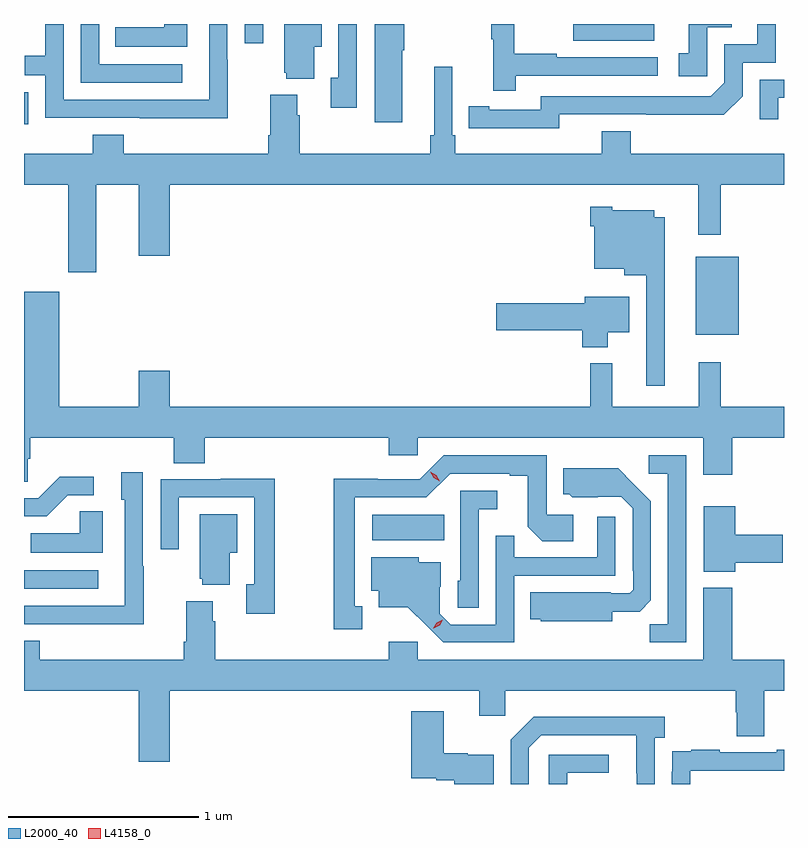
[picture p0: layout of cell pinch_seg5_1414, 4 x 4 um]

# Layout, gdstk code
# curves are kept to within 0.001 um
import gdstk
lib = gdstk.Library(unit=1e-6, precision=1e-09)
def R(c, l, rs):  # rectangles x0, y0, x1, y1
    for r in rs: c.add(gdstk.rectangle(r[:2], r[2:], *l))
def P(c, l, *ps):  # polygons
    for p in ps: c.add(gdstk.Polygon(p, *l))
L2000_40 = (2000, 40)
L4158_0 = (4158, 0)

pinch_seg5_1414 = lib.new_cell('pinch_seg5_1414')
R(pinch_seg5_1414, L2000_40, [(152.416,879.942,152.806,880.038), (154.248,880.196,154.628,880.33), (155.951,881.279,156.178,881.689), (152.416,882.387,152.439,882.555), (153.579,882.813,153.675,882.914), (155.307,882.827,155.734,882.914)])
P(pinch_seg5_1414, L2000_40, [(154.167,882.914),(154.071,882.914),(154.071,882.63),(154.031,882.63),(154.031,882.474),(154.167,882.474)],
  [(153.943,882.794),(153.982,882.794),(153.982,882.914),(153.785,882.914),(153.785,882.657),(153.797,882.657),(153.797,882.626),(153.943,882.626)],
  [(153.274,882.914),(153.153,882.914),(153.153,882.898),(152.896,882.898),(152.896,882.794),(153.274,882.794)],
  [(154.408,882.775),(154.416,882.775),(154.416,882.914),(154.262,882.914),(154.262,882.396),(154.408,882.396)],
  [(153.25,882.702),(152.811,882.702),(152.811,882.914),(152.715,882.914),(152.715,882.606),(153.25,882.606)],
  [(156.012,882.897),(156.141,882.897),(156.141,882.914),(155.915,882.914),(155.915,882.759),(155.862,882.759),(155.862,882.639),(156.012,882.639)],
  [(155.232,882.438),(156.1,882.437),(156.198,882.534),(156.198,882.711),(156.372,882.711),(156.372,882.914),(156.275,882.914),(156.275,882.807),(156.102,882.807),(156.102,882.606),(156.03,882.534),(155.136,882.534),(155.136,882.462),(154.864,882.462),(154.864,882.482),(154.756,882.482),(154.756,882.366),(155.232,882.365)],
  [(153.489,882.725),(153.486,882.725),(153.486,882.914),(153.39,882.914),(153.39,882.516),(152.625,882.516),(152.625,882.914),(152.529,882.914),(152.529,882.746),(152.419,882.746),(152.419,882.645),(152.529,882.645),(152.529,882.42),(153.025,882.42),(153.025,882.419),(153.489,882.419)],
  [(155.003,882.642),(155.752,882.642),(155.752,882.738),(155.219,882.738),(155.219,882.758),(154.996,882.758),(154.996,882.914),(154.875,882.914),(154.875,882.835),(154.886,882.835),(154.886,882.564),(155.003,882.564)],
  [(152.797,882.068),(153.02,882.068),(153.02,881.694),(153.184,881.694),(153.184,882.068),(155.965,882.068),(155.965,881.805),(156.083,881.805),(156.083,882.068),(156.416,882.068),(156.416,882.232),(155.609,882.232),(155.609,882.349),(155.456,882.349),(155.456,882.232),(154.685,882.232),(154.685,882.328),(154.671,882.328),(154.671,882.688),(154.574,882.688),(154.574,882.328),(154.555,882.328),(154.555,882.232),(153.866,882.232),(153.866,882.434),(153.853,882.434),(153.853,882.541),(153.713,882.541),(153.713,882.328),(153.701,882.328),(153.701,882.232),(152.942,882.232),(152.942,882.331),(152.777,882.331),(152.777,882.232),(152.416,882.232),(152.416,882.068),(152.65,882.068),(152.65,881.607),(152.797,881.607)],
  [(156.385,882.525),(156.416,882.525),(156.416,882.621),(156.288,882.621),(156.288,882.414),(156.385,882.414)],
  [(155.788,881.896),(155.734,881.896),(155.734,881.935),(155.511,881.935),(155.511,881.953),(155.396,881.953),(155.396,881.849),(155.417,881.849),(155.417,881.627),(155.576,881.627),(155.576,881.591),(155.691,881.591),(155.691,881.01),(155.788,881.01)],
  [(152.436,880.627),(152.45,880.627),(152.45,880.736),(153.203,880.736),(153.203,880.603),(153.368,880.603),(153.368,880.736),(154.337,880.736),(154.337,880.643),(154.488,880.643),(154.488,880.736),(155.99,880.736),(155.99,880.542),(156.143,880.542),(156.143,880.736),(156.416,880.736),(156.416,880.9),(156.083,880.9),(156.083,881.134),(155.966,881.134),(155.966,880.9),(155.513,880.9),(155.513,881.128),(155.395,881.128),(155.395,880.9),(153.184,880.9),(153.184,881.089),(153.02,881.089),(153.02,880.9),(152.602,880.9),(152.602,881.506),(152.416,881.506),(152.416,880.504),(152.436,880.504)],
  [(155.488,881.291),(155.602,881.291),(155.602,881.479),(155.366,881.479),(155.366,881.444),(154.902,881.444),(154.902,881.302),(155.354,881.302),(155.354,881.213),(155.488,881.213)],
  [(155.901,880.644),(155.703,880.644),(155.703,880.548),(155.805,880.548),(155.805,879.755),(155.71,879.755),(155.71,879.66),(155.901,879.66)],
  [(154.195,879.849),(154.156,879.849),(154.156,880.422),(154.533,880.422),(154.659,880.548),(154.973,880.548),(154.973,880.536),(155.067,880.536),(155.067,880.268),(155.143,880.192),(155.308,880.192),(155.308,880.332),(155.166,880.332),(155.166,880.644),(154.626,880.644),(154.5,880.518),(154.278,880.518),(154.278,880.52),(154.045,880.52),(154.045,879.729),(154.195,879.729)],
  [(155.512,879.821),(155.656,879.821),(155.715,879.88),(155.715,880.402),(155.543,880.576),(155.255,880.576),(155.255,880.44),(155.286,880.44),(155.302,880.424),(155.559,880.425),(155.619,880.365),(155.619,880.036),(155.622,880.036),(155.622,879.936),(155.604,879.918),(155.504,879.918),(155.504,879.922),(155.08,879.922),(155.08,879.782),(155.136,879.782),(155.136,879.77),(155.512,879.77)],
  [(153.045,880.061),(153.042,880.061),(153.042,880.555),(152.927,880.555),(152.927,880.41),(152.946,880.41),(152.946,879.852),(152.416,879.852),(152.416,879.756),(152.581,879.756),(152.581,879.755),(153.045,879.755)],
  [(152.647,880.434),(152.782,880.434),(152.782,880.532),(152.603,880.532),(152.49,880.419),(152.416,880.419),(152.416,880.323),(152.536,880.323)],
  [(153.736,880.52),(153.451,880.52),(153.451,880.518),(153.135,880.518),(153.135,880.149),(153.231,880.149),(153.231,880.422),(153.627,880.422),(153.627,879.966),(153.587,879.966),(153.587,879.81),(153.736,879.81)],
  [(154.809,880.361),(154.906,880.361),(154.906,880.458),(154.713,880.458),(154.713,879.984),(154.698,879.984),(154.698,879.841),(154.809,879.841)],
  [(156.16,880.079),(156.409,880.079),(156.409,880.226),(156.16,880.226),(156.16,880.375),(155.993,880.375),(155.993,880.031),(156.16,880.031)],
  [(152.83,880.349),(152.709,880.349),(152.709,880.234),(152.452,880.234),(152.452,880.13),(152.83,880.13)],
  [(153.499,880.13),(153.538,880.13),(153.538,880.333),(153.341,880.333),(153.341,879.993),(153.353,879.993),(153.353,879.962),(153.499,879.962)],
  [(154.995,880.011),(155.529,880.011),(155.529,880.321),(155.433,880.321),(155.433,880.107),(154.997,880.107),(154.997,880.22),(154.899,880.22),(154.899,879.753),(154.662,879.753),(154.605,879.81),(154.605,879.952),(154.609,879.952),(154.609,880.081),(154.494,880.081),(154.494,880.108),(154.244,880.108),(154.244,879.932),(154.283,879.932),(154.283,879.845),(154.435,879.845),(154.622,879.66),(154.995,879.66)],
  [(153.184,879.404),(154.811,879.404),(154.811,879.273),(154.95,879.273),(154.95,879.404),(156.161,879.404),(156.161,879.291),(156.166,879.291),(156.166,879.166),(156.313,879.166),(156.313,879.404),(156.416,879.404),(156.416,879.568),(156.143,879.568),(156.143,879.946),(155.99,879.946),(155.99,879.568),(154.488,879.568),(154.488,879.664),(154.337,879.664),(154.337,879.568),(153.422,879.568),(153.422,879.77),(153.409,879.77),(153.409,879.877),(153.269,879.877),(153.269,879.664),(153.257,879.664),(153.257,879.568),(152.498,879.568),(152.498,879.667),(152.416,879.667),(152.416,879.404),(153.02,879.404),(153.02,879.03),(153.184,879.03)],
  [(154.888,879.067),(154.752,879.067),(154.752,879.075),(154.624,879.075),(154.624,879.298),(154.454,879.298),(154.454,878.945),(154.587,878.945),(154.587,878.933),(154.681,878.933),(154.681,878.914),(154.888,878.914)],
  [(155.073,879.105),(155.139,879.171),(155.639,879.171),(155.64,878.914),(155.736,878.914),(155.736,879.158),(155.788,879.158),(155.788,879.268),(155.098,879.268),(154.977,879.147),(154.977,878.914),(155.073,878.914)],
  [(155.922,878.985),(156.416,878.985),(156.416,879.094),(156.377,879.094),(156.377,879.081),(156.077,879.081),(156.077,879.094),(155.929,879.094),(155.929,879.087),(155.827,879.087),(155.827,878.978),(155.826,878.978),(155.826,878.914),(155.922,878.914)],
  [(155.274,878.973),(155.494,878.973),(155.494,879.069),(155.178,879.069),(155.178,878.914),(155.274,878.914)])
P(pinch_seg5_1414, L4158_0, [(154.605,880.508),(154.573,880.526),(154.555,880.558),(154.555,880.558),(154.555,880.558),(154.587,880.54),(154.605,880.508),(154.605,880.508)],
  [(154.571,879.734),(154.571,879.734),(154.589,879.764),(154.62,879.778),(154.62,879.778),(154.62,879.778),(154.603,879.749),(154.572,879.734)])

lib.write_gds('pinch_seg5_1414.gds')
